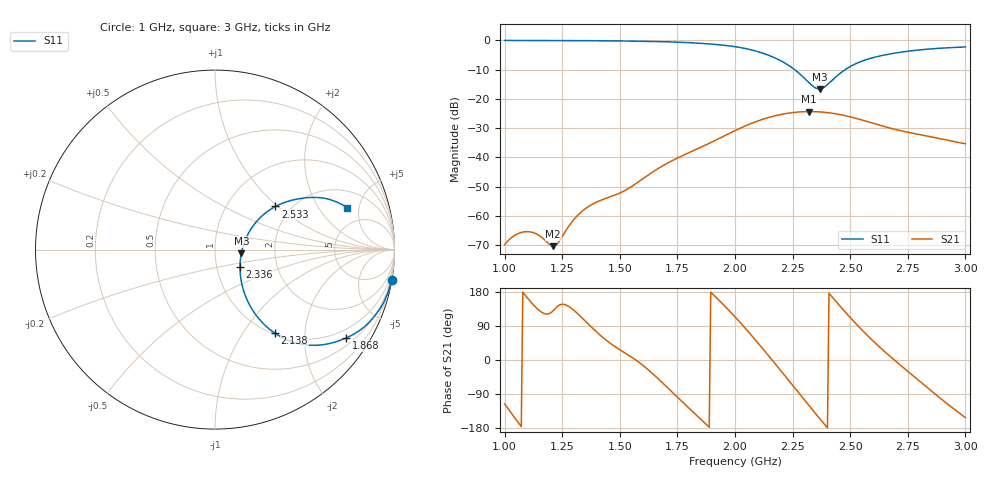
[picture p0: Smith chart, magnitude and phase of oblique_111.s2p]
! TOUCHSTONE file generated by CST MICROWAVE STUDIO
! Date and time: Tue Mar 18 00:02:03 2025
! Project name: oblique.cst
! Parameters = {Tilt=40; Fracture=1; B=10; D=160; F=5; Feed=2.85625; L=100; M=10; R=0.384908; S=1; Theta=270; length=57.125; wave=114.25}
! Header version: 2024
! Port assignment regex: !\s*Touchstone port\s*([0-9]+)\s*=\s*(CST MWS port|CST DES external port|CST DES block port)\s*(.+)\s* \(\"(.*)\"\)(\s*mode\s*([0-9]+))?.*
! Touchstone port assignment:
! Touchstone port 1 = CST MWS port 1 ("")
! Touchstone port 2 = CST MWS port 2 ("")
# GHz S DB R 50
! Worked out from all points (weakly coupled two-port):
!   305 points, 1 GHz to 3 GHz, reference 50 ohm
!   highest |S21| = -24.32 dB at 2.322 GHz (marker M1); lowest = -70.3 dB at 1.211 GHz (marker M2)
!   lowest |S11| = -16.6 dB at 2.368 GHz (marker M3), VSWR 1.35, Z = 67.2 - j2.7 ohm
!   |S11| at or under -10 dB: 2.259 GHz to 2.478 GHz (219.5 MHz wide, 9.27 % of centre)
!   S12 and S22 are empty: the file has one direction only
!   S11 on the Smith chart (normalised r, x): 1 GHz: 0, -12; 1.868 GHz: 0.71, -3.13; 2.138 GHz: 1.02, -1.41; 2.336 GHz: 1.30, -0.25; 2.533 GHz: 1.67, +0.97; 3 GHz: 3.25, +3.79
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1  -0.02 -9.8  -69.85 -115.8  -200.00 0.0  -200.00 0.0
1.04605  -0.02 -10.4  -66.53 -154.4  -200.00 0.0  -200.00 0.0
1.09868  -0.03 -11.2  -65.38 164.0  -200.00 0.0  -200.00 0.0
1.14474  -0.04 -11.8  -66.43 133.6  -200.00 0.0  -200.00 0.0
1.21053  -0.05 -12.9  -70.34 129.9  -200.00 0.0  -200.00 0.0
1.23026  -0.05 -13.3  -69.42 141.9  -200.00 0.0  -200.00 0.0
1.28947  -0.07 -14.4  -62.31 136.7  -200.00 0.0  -200.00 0.0
1.33553  -0.09 -15.3  -58.44 111.5  -200.00 0.0  -200.00 0.0
1.39474  -0.12 -16.5  -55.43 76.5  -200.00 0.0  -200.00 0.0
1.52632  -0.21 -19.9  -51.12 17.3  -200.00 0.0  -200.00 0.0
1.67105  -0.42 -24.5  -43.57 -52.0  -200.00 0.0  -200.00 0.0
1.86842  -1.09 -33.9  -35.94 -166.0  -200.00 0.0  -200.00 0.0
2  -2.14 -43.0  -30.85 113.9  -200.00 0.0  -200.00 0.0
2.13816  -4.84 -54.4  -26.53 16.9  -200.00 0.0  -200.00 0.0
2.23684  -8.76 -58.0  -24.81 -56.8  -200.00 0.0  -200.00 0.0
2.32237  -14.54 -41.7  -24.32 -121.0  -200.00 0.0  -200.00 0.0
2.33553  -15.48 -34.1  -24.33 -130.8  -200.00 0.0  -200.00 0.0
2.36842  -16.58 -7.6  -24.44 -155.2  -200.00 0.0  -200.00 0.0
2.45395  -11.40 33.4  -25.33 143.5  -200.00 0.0  -200.00 0.0
2.53289  -7.66 35.5  -26.80 90.7  -200.00 0.0  -200.00 0.0
2.67105  -4.65 29.6  -29.95 10.7  -200.00 0.0  -200.00 0.0
3  -2.22 17.6  -35.31 -152.0  -200.00 0.0  -200.00 0.0
